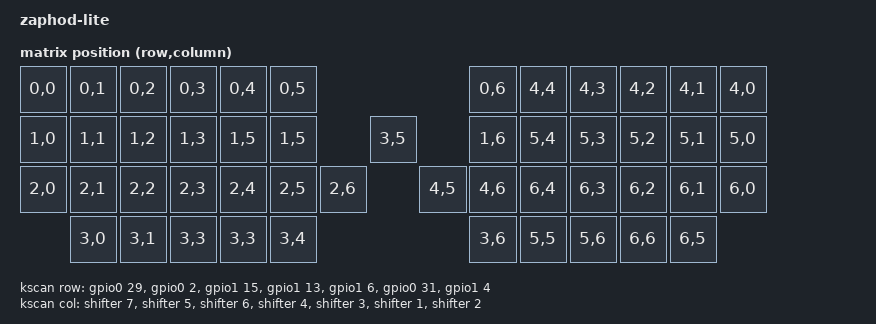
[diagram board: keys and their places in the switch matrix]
/*
 * Copyright (c) 2020 Pete Johanson
 *
 * SPDX-License-Identifier: MIT
 */

#include <dt-bindings/zmk/matrix_transform.h>

&spi3 {
	status = "okay";
    compatible = "nordic,nrf-spim";

    pinctrl-0 = <&spi3_default>;
    pinctrl-1 = <&spi3_sleep>;
    pinctrl-names = "default", "sleep";
	cs-gpios = <&gpio0 6 GPIO_ACTIVE_LOW>, <&gpio0 8 GPIO_ACTIVE_HIGH>;
	shifter: 595@0 {
		compatible = "zmk,gpio-595";
		status = "okay";
		gpio-controller;
		spi-max-frequency = <200000>;
		reg = <0>;
		#gpio-cells = <2>;
		ngpios = <8>;
	};

	ls0xx: ls0xx@1 {
		compatible = "sharp,ls0xx";
		spi-max-frequency = <2000000>;
		reg = <1>;
		width = <144>;
		height = <168>;
		// disp-en-gpios = <&gpio0 23 GPIO_ACTIVE_HIGH>;
	};

};



/ {
	model = "zaphod-lite";
	compatible = "petejohanson,zaphod-lite";

	chosen {
		zmk,kscan = &kscan;
		zmk,matrix_transform = &transform;
		zephyr,display = &ls0xx;
	};

	transform: transform {
		compatible = "zmk,matrix-transform";
		rows = <7>;
		columns = <7>;

		map = <
    RC(0,0) RC(0,1) RC(0,2) RC(0,3) RC(0,4) RC(0,5) 	                    RC(0,6) RC(4,4) RC(4,3) RC(4,2) RC(4,1) RC(4,0)
	RC(1,0) RC(1,1) RC(1,2) RC(1,3) RC(1,5) RC(1,5) 	    RC(3,5)         RC(1,6) RC(5,4) RC(5,3) RC(5,2) RC(5,1) RC(5,0)
	RC(2,0) RC(2,1) RC(2,2) RC(2,3) RC(2,4) RC(2,5) RC(2,6)     	RC(4,5) RC(4,6) RC(6,4) RC(6,3) RC(6,2) RC(6,1) RC(6,0)
	        RC(3,0) RC(3,1) RC(3,3) RC(3,3) RC(3,4)                         RC(3,6) RC(5,5) RC(5,6) RC(6,6) RC(6,5)
	>;
	};
	
	kscan: kscan {
		compatible = "zmk,kscan-gpio-matrix";
		wakeup-source;

		debounce-press-ms = <1>;
		debounce-release-ms = <5>;

		diode-direction = "col2row";

		col-gpios
			= <&shifter 7 (GPIO_ACTIVE_HIGH)>
			, <&shifter 5 (GPIO_ACTIVE_HIGH)>
			, <&shifter 6 (GPIO_ACTIVE_HIGH)>
			, <&shifter 4 (GPIO_ACTIVE_HIGH)>
			, <&shifter 3 (GPIO_ACTIVE_HIGH)>
			, <&shifter 1 (GPIO_ACTIVE_HIGH)>
			, <&shifter 2 (GPIO_ACTIVE_HIGH)>
			;
		row-gpios
			= <&gpio0 29  	(GPIO_ACTIVE_HIGH | GPIO_PULL_DOWN)>
			, <&gpio0 2   	(GPIO_ACTIVE_HIGH | GPIO_PULL_DOWN)>
			, <&gpio1 15 	(GPIO_ACTIVE_HIGH | GPIO_PULL_DOWN)>
			, <&gpio1 13 	(GPIO_ACTIVE_HIGH | GPIO_PULL_DOWN)>
            , <&gpio1 6 	(GPIO_ACTIVE_HIGH | GPIO_PULL_DOWN)>
            , <&gpio0 31 	(GPIO_ACTIVE_HIGH | GPIO_PULL_DOWN)>
            , <&gpio1 4 	(GPIO_ACTIVE_HIGH | GPIO_PULL_DOWN)>
			;
	};
};

